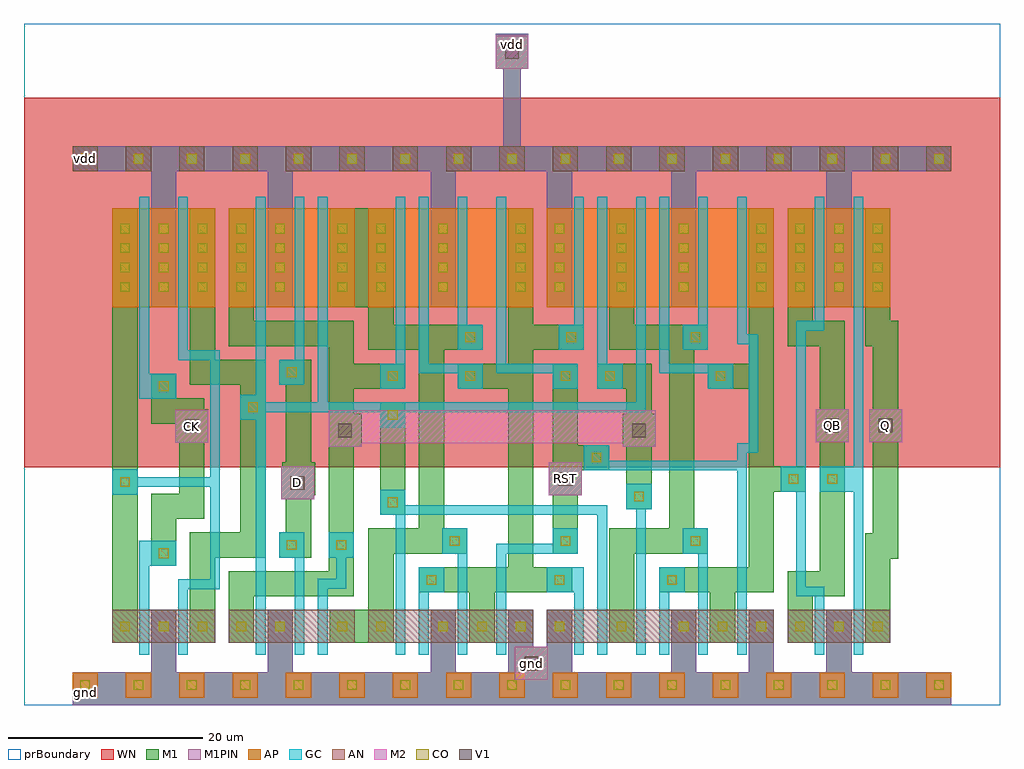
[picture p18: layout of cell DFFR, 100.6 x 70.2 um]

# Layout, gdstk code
import gdstk
lib = gdstk.Library(unit=1e-6, precision=1e-09)
def R(c, l, rs):  # rectangles x0, y0, x1, y1
    for r in rs: c.add(gdstk.rectangle(r[:2], r[2:], *l))
def A(c, l, x, y, w, h, nx, ny, dx, dy):  # array of equal rectangles
    R(c, l, [(x+i*dx, y+j*dy, x+i*dx+w, y+j*dy+h) for i in range(nx) for j in range(ny)])
def P(c, l, *ps):  # polygons
    for p in ps: c.add(gdstk.Polygon(p, *l))
AP = (3, 1)
AN = (3, 2)
GC = (8, 1)
CO = (11, 0)
M1 = (13, 0)
V1 = (19, 0)
M2 = (20, 0)
M1PIN = (48, 1)
WN = (140, 0)
prBoundary = (235, 4)

dffr = lib.new_cell('DFFR')
A(dffr, AP, 5, 0.75, 2.6, 2.6, 17, 1, 5.5, 0)
R(dffr, AP, [(9.1,41,19.7,51.2), (21.1,41,34.1,51.2), (35.5,41,52.5,51.2), (53.9,41,77.3,51.2), (78.7,41,89.3,51.2)])
A(dffr, AN, 5, 55, 2.6, 2.6, 17, 1, 5.5, 0)
R(dffr, AN, [(9.1,6.4,19.7,9.8), (21.1,6.4,34.1,9.8), (35.5,6.4,52.5,9.8), (53.9,6.4,77.3,9.8), (78.7,6.4,89.3,9.8)])
P(dffr, GC, [(11.9,5.2),(11.9,16.95),(15.7,16.95),(15.7,14.35),(12.9,14.35),(12.9,5.2)],
  [(15.9,5.2),(15.9,12.95),(19.2,12.95),(19.2,22.5),(11.7,22.5),(11.7,21.7),(9.1,21.7),(9.1,24.3),(11.7,24.3),(11.7,23.5),(19.2,23.5),(19.2,35.55),(15.9,35.55),(15.9,52.4),(16.9,52.4),(16.9,36.55),(20.2,36.55),(20.2,11.95),(16.9,11.95),(16.9,5.2)],
  [(23.9,5.2),(23.9,29.4),(22.3,29.4),(22.3,32),(23.9,32),(23.9,52.4),(24.9,52.4),(24.9,31.2),(30.3,31.2),(30.3,52.4),(31.3,52.4),(31.3,31.2),(63.1,31.2),(63.1,52.4),(64.1,52.4),(64.1,30.2),(39.3,30.2),(39.3,28.6),(36.7,28.6),(36.7,30.2),(24.9,30.2),(24.9,5.2)],
  [(38.3,5.2),(38.3,19.6),(36.7,19.6),(36.7,22.2),(39.3,22.2),(39.3,20.6),(60.1,20.6),(60.1,5.2),(59.1,5.2),(59.1,19.6),(39.3,19.6),(39.3,5.2)],
  [(56.7,5.2),(56.7,11.6),(53.9,11.6),(53.9,14.2),(57.7,14.2),(57.7,5.2)],
  [(73.5,5.2),(73.5,24.2),(57.7,24.2),(57.7,26.8),(60.3,26.8),(60.3,25.2),(73.5,25.2),(73.5,27),(74.7,27),(74.7,37.2),(73.5,37.2),(73.5,52.4),(74.5,52.4),(74.5,38.2),(75.7,38.2),(75.7,26),(74.5,26),(74.5,5.2)],
  [(81.5,5.2),(81.5,11.2),(79.6,11.2),(79.6,22),(78,22),(78,24.6),(79.6,24.6),(79.6,39.6),(81.5,39.6),(81.5,52.4),(82.5,52.4),(82.5,38.6),(80.6,38.6),(80.6,12.2),(82.5,12.2),(82.5,5.2)],
  [(85.5,5.2),(85.5,22),(82,22),(82,24.6),(85.5,24.6),(85.5,52.4),(86.5,52.4),(86.5,5.2)],
  [(40.7,5.2),(40.7,14.2),(43.3,14.2),(43.3,11.6),(41.7,11.6),(41.7,5.2)],
  [(65.5,5.2),(65.5,14.2),(68.1,14.2),(68.1,11.6),(66.5,11.6),(66.5,5.2)],
  [(27.9,5.2),(27.9,15.2),(26.3,15.2),(26.3,17.8),(28.9,17.8),(28.9,5.2)],
  [(30.3,5.2),(30.3,13),(32.2,13),(32.2,15.2),(31.4,15.2),(31.4,17.8),(34,17.8),(34,15.2),(33.2,15.2),(33.2,12),(31.3,12),(31.3,5.2)],
  [(44.7,5.2),(44.7,15.6),(43.1,15.6),(43.1,18.2),(45.7,18.2),(45.7,5.2)],
  [(48.7,5.2),(48.7,16.6),(54.5,16.6),(54.5,18.2),(57.1,18.2),(57.1,15.6),(49.7,15.6),(49.7,5.2)],
  [(69.5,5.2),(69.5,15.6),(67.9,15.6),(67.9,18.2),(70.5,18.2),(70.5,5.2)],
  [(63.1,5.2),(63.1,20.2),(62.1,20.2),(62.1,22.8),(64.7,22.8),(64.7,20.2),(64.1,20.2),(64.1,5.2)],
  [(11.9,31.55),(11.9,52.4),(12.9,52.4),(12.9,34.15),(15.7,34.15),(15.7,31.55)],
  [(26.3,33),(26.3,35.6),(27.9,35.6),(27.9,52.4),(28.9,52.4),(28.9,33)],
  [(36.7,32.6),(36.7,35.2),(38.3,35.2),(38.3,52.4),(39.3,52.4),(39.3,32.6)],
  [(44.7,32.6),(44.7,34.2),(40.7,34.2),(40.7,52.4),(41.7,52.4),(41.7,35.2),(47.3,35.2),(47.3,32.6)],
  [(44.7,36.6),(44.7,52.4),(45.7,52.4),(45.7,39.2),(47.3,39.2),(47.3,36.6)],
  [(54.5,32.6),(54.5,34.2),(48.7,34.2),(48.7,52.4),(49.7,52.4),(49.7,35.2),(57.1,35.2),(57.1,32.6)],
  [(55.1,36.6),(55.1,39.2),(56.7,39.2),(56.7,52.4),(57.7,52.4),(57.7,36.6)],
  [(59.1,32.6),(59.1,52.4),(60.1,52.4),(60.1,35.2),(61.7,35.2),(61.7,32.6)],
  [(70.5,32.6),(70.5,34.2),(65.5,34.2),(65.5,52.4),(66.5,52.4),(66.5,35.2),(73.1,35.2),(73.1,32.6)],
  [(67.9,36.6),(67.9,39.2),(69.5,39.2),(69.5,52.4),(70.5,52.4),(70.5,36.6)])
A(dffr, CO, 5.8, 1.55, 1, 1, 17, 2, 5.5, 54.25)
A(dffr, CO, 13.9, 7.6, 1, 1, 4, 2, 4, 35)
A(dffr, CO, 46.7, 7.6, 1, 1, 3, 1, 4, 0)
A(dffr, CO, 71.5, 7.6, 1, 1, 4, 1, 4, 0)
A(dffr, CO, 9.9, 42.6, 1, 1, 1, 4, 0, 2)
A(dffr, CO, 13.9, 42.6, 1, 1, 1, 4, 0, 2)
A(dffr, CO, 25.9, 42.6, 1, 1, 1, 4, 0, 2)
A(dffr, CO, 32.3, 42.6, 1, 1, 1, 4, 0, 2)
A(dffr, CO, 36.3, 42.6, 1, 1, 1, 4, 0, 2)
A(dffr, CO, 50.7, 42.6, 1, 1, 1, 4, 0, 2)
A(dffr, CO, 54.7, 42.6, 1, 1, 1, 4, 0, 2)
A(dffr, CO, 75.5, 42.6, 1, 1, 3, 4, 4, 2)
A(dffr, CO, 83.5, 42.6, 1, 1, 1, 4, 0, 2)
A(dffr, CO, 87.5, 42.6, 1, 1, 1, 4, 0, 2)
A(dffr, CO, 13.9, 44.6, 1, 1, 4, 3, 4, 2)
R(dffr, CO, [(9.9,7.6,10.9,8.6), (13.9,7.6,14.9,8.6), (25.9,7.6,26.9,8.6), (32.3,7.6,33.3,8.6), (36.3,7.6,37.3,8.6), (42.7,7.6,43.7,8.6), (42.7,7.6,43.7,8.6), (46.7,7.6,47.7,8.6), (61.1,7.6,62.1,8.6), (61.1,7.6,62.1,8.6), (67.5,7.6,68.5,8.6), (67.5,7.6,68.5,8.6), (71.5,7.6,72.5,8.6), (83.5,7.6,84.5,8.6), (87.5,7.6,88.5,8.6), (41.5,12.4,42.5,13.4), (54.7,12.4,55.7,13.4), (66.3,12.4,67.3,13.4), (13.9,15.15,14.9,16.15), (27.1,16,28.1,17), (32.2,16,33.2,17), (43.9,16.4,44.9,17.4), (55.3,16.4,56.3,17.4), (68.7,16.4,69.7,17.4), (37.5,20.4,38.5,21.4), (62.9,21,63.9,22), (9.9,22.5,10.9,23.5), (78.8,22.8,79.8,23.8), (82.8,22.8,83.8,23.8), (58.5,25,59.5,26), (37.5,29.4,38.5,30.4), (23.1,30.2,24.1,31.2), (13.9,32.35,14.9,33.35), (37.5,33.4,38.5,34.4), (45.5,33.4,46.5,34.4), (55.3,33.4,56.3,34.4), (59.9,33.4,60.9,34.4), (71.3,33.4,72.3,34.4), (27.1,33.8,28.1,34.8), (45.5,37.4,46.5,38.4), (55.9,37.4,56.9,38.4), (68.7,37.4,69.7,38.4), (42.7,42.6,43.7,43.6), (42.7,42.6,43.7,43.6), (61.1,42.6,62.1,43.6), (61.1,42.6,62.1,43.6), (67.5,42.6,68.5,43.6), (67.5,42.6,68.5,43.6), (42.7,44.6,43.7,45.6), (42.7,44.6,43.7,45.6), (61.1,44.6,62.1,45.6), (61.1,44.6,62.1,45.6), (67.5,44.6,68.5,45.6), (67.5,44.6,68.5,45.6), (42.7,46.6,43.7,47.6), (42.7,46.6,43.7,47.6), (61.1,46.6,62.1,47.6), (61.1,46.6,62.1,47.6), (67.5,46.6,68.5,47.6), (67.5,46.6,68.5,47.6), (42.7,48.6,43.7,49.6), (42.7,48.6,43.7,49.6), (61.1,48.6,62.1,49.6), (61.1,48.6,62.1,49.6), (67.5,48.6,68.5,49.6), (67.5,48.6,68.5,49.6)])
R(dffr, M1, [(5,2.6,13.1,3.4), (15.7,2.6,25.1,3.4), (27.7,2.6,41.9,3.4), (44.5,2.6,49.9,3.4), (56.5,2.6,66.7,3.4), (69.3,2.6,74.7,3.4), (77.3,2.6,82.7,3.4), (85.3,2.6,95.6,3.4), (9.1,6.4,11.7,51.2), (36.7,19.6,39.3,31.2), (13.1,41,15.7,55), (25.1,41,27.7,55), (41.9,41,44.5,55), (53.9,41,56.5,55), (66.7,41,69.3,55), (82.7,41,85.3,55), (5,55,95.6,57.6), (49.4,57.6,51.2,65.6), (48.6,65.6,52,69.2)])
P(dffr, M1, [(5,0),(5,2.6),(13.1,2.6),(13.1,9.8),(15.7,9.8),(15.7,2.6),(25.1,2.6),(25.1,9.8),(27.7,9.8),(27.7,2.6),(41.9,2.6),(41.9,9.8),(44.5,9.8),(44.5,2.6),(49.9,2.6),(49.9,9.8),(52.5,9.8),(52.5,6),(53.9,6),(53.9,9.8),(56.5,9.8),(56.5,2.6),(66.7,2.6),(66.7,9.8),(69.3,9.8),(69.3,2.6),(74.7,2.6),(74.7,9.8),(77.3,9.8),(77.3,2.6),(82.7,2.6),(82.7,9.8),(85.3,9.8),(85.3,2.6),(95.6,2.6),(95.6,0)],
  [(13.1,14.35),(13.1,21.8),(16,21.8),(16,27.05),(15.6,27.05),(15.6,29),(13.1,29),(13.1,34.15),(15.7,34.15),(15.7,31.6),(18.6,31.6),(18.6,30.5),(19,30.5),(19,27.05),(18.6,27.05),(18.6,19.2),(15.7,19.2),(15.7,14.35)],
  [(54.5,15.6),(54.5,21.6),(54.1,21.6),(54.1,25),(54.5,25),(54.5,35.2),(57.1,35.2),(57.1,26.8),(60.3,26.8),(60.3,24.2),(57.5,24.2),(57.5,21.6),(57.1,21.6),(57.1,15.6)],
  [(62.1,20.2),(62.1,26.6),(61.7,26.6),(61.7,30),(62.1,30),(62.1,32.6),(59.1,32.6),(59.1,35.2),(64.7,35.2),(64.7,30),(65.1,30),(65.1,26.6),(64.7,26.6),(64.7,20.2)],
  [(26.3,15.2),(26.3,17.8),(27,17.8),(27,21.2),(26.5,21.2),(26.5,24.6),(26.6,24.6),(26.6,25),(27,25),(27,33),(26.3,33),(26.3,35.6),(29.6,35.6),(29.6,25),(30,25),(30,21.6),(29.9,21.6),(29.9,21.2),(29.6,21.2),(29.6,15.2)],
  [(17.1,6.4),(17.1,17.8),(22.3,17.8),(22.3,33),(17.1,33),(17.1,51.2),(19.7,51.2),(19.7,35.6),(24.9,35.6),(24.9,15.2),(19.7,15.2),(19.7,6.4)],
  [(21.1,6.4),(21.1,13.8),(31.4,13.8),(31.4,37),(21.1,37),(21.1,51.2),(23.7,51.2),(23.7,39.6),(34,39.6),(34,35.2),(39.3,35.2),(39.3,32.6),(34,32.6),(34,30),(34.8,30),(34.8,26.6),(34,26.6),(34,11.2),(23.7,11.2),(23.7,6.4)],
  [(31.5,6.4),(31.5,9.8),(35.5,9.8),(35.5,18.2),(40.7,18.2),(40.7,36.6),(35.5,36.6),(35.5,41),(31.5,41),(31.5,51.2),(38.1,51.2),(38.1,39.2),(47.3,39.2),(47.3,36.6),(43.3,36.6),(43.3,18.2),(45.7,18.2),(45.7,15.6),(38.1,15.6),(38.1,6.4)],
  [(45.9,6.4),(45.9,11.6),(40.7,11.6),(40.7,14.2),(49.9,14.2),(49.9,32.6),(44.7,32.6),(44.7,35.2),(49.9,35.2),(49.9,51.2),(52.5,51.2),(52.5,39.2),(57.7,39.2),(57.7,36.6),(52.5,36.6),(52.5,14.2),(56.5,14.2),(56.5,11.6),(48.5,11.6),(48.5,6.4)],
  [(60.3,6.4),(60.3,18.2),(66.5,18.2),(66.5,36.6),(60.3,36.6),(60.3,51.2),(62.9,51.2),(62.9,39.2),(70.5,39.2),(70.5,36.6),(69.1,36.6),(69.1,18.2),(70.5,18.2),(70.5,15.6),(62.9,15.6),(62.9,6.4)],
  [(70.7,6.4),(70.7,11.6),(65.5,11.6),(65.5,14.2),(74.7,14.2),(74.7,32.6),(70.5,32.6),(70.5,35.2),(74.7,35.2),(74.7,51.2),(77.3,51.2),(77.3,24.6),(80.6,24.6),(80.6,22),(77.3,22),(77.3,11.6),(73.3,11.6),(73.3,6.4)],
  [(78.7,6.4),(78.7,13.8),(82,13.8),(82,27.1),(81.6,27.1),(81.6,30.5),(82,30.5),(82,37),(78.7,37),(78.7,51.2),(81.3,51.2),(81.3,39.6),(84.6,39.6),(84.6,30.5),(85,30.5),(85,27.1),(84.6,27.1),(84.6,11.2),(81.3,11.2),(81.3,6.4)],
  [(86.7,6.4),(86.7,17.7),(87.5,17.7),(87.5,27.1),(87.1,27.1),(87.1,30.5),(87.5,30.5),(87.5,37),(86.7,37),(86.7,51.2),(89.3,51.2),(89.3,39.6),(90.1,39.6),(90.1,30.5),(90.5,30.5),(90.5,27.1),(90.1,27.1),(90.1,15.1),(89.3,15.1),(89.3,6.4)])
R(dffr, V1, [(51.6,3.6,53,5), (27.5,22.2,28.9,23.6), (55.1,22.6,56.5,24), (32.4,27.6,33.8,29), (62.7,27.6,64.1,29), (16.6,28.05,18,29.45), (82.6,28.1,84,29.5), (88.1,28.1,89.5,29.5), (49.6,66.6,51,68)])
R(dffr, M2, [(50.6,2.6,54,6), (26.5,21.2,29.9,24.6), (54.1,21.6,57.5,25), (15.6,27.05,19,30.45), (81.6,27.1,85,30.5), (87.1,27.1,90.5,30.5), (48.6,65.6,52,69)])
P(dffr, M2, [(31.4,26.6),(31.4,30.4),(65.1,30.4),(65.1,26.6),(61.7,26.6),(61.7,27),(34.8,27),(34.8,26.6)])
A(dffr, M1PIN, 66.7, 3.4, 2.6, 6.4, 3, 1, 8, 0)
R(dffr, M1PIN, [(5,0,95.6,3.4), (13.1,3.4,15.7,9.8), (25.1,3.4,27.7,9.8), (41.9,3.4,44.5,9.8), (49.9,3.4,56.5,6), (49.9,6,52.5,9.8), (53.9,6,56.5,9.8), (13.1,41,15.7,55), (25.1,41,27.7,55), (41.9,41,44.5,55), (53.9,41,56.5,55), (66.7,41,69.3,55), (82.7,41,85.3,55), (5,55,95.6,57.6), (49.4,57.6,51.2,65.6), (48.6,65.6,52,69.2)])
R(dffr, WN, [(0,24.5,100.6,62.6)])
R(dffr, prBoundary, [(0,0,100.6,70.2)])
dffr.add(gdstk.Label('vdd', (50.3,68.1), layer=49, texttype=0))
dffr.add(gdstk.Label('CK', (17.3,28.75), layer=49, texttype=0))
dffr.add(gdstk.Label('D', (28.2,22.9), layer=49, texttype=0))
dffr.add(gdstk.Label('Q', (88.8,28.8), layer=49, texttype=0))
dffr.add(gdstk.Label('QB', (83.3,28.8), layer=49, texttype=0))
dffr.add(gdstk.Label('RST', (55.8,23.3), layer=49, texttype=0))
dffr.add(gdstk.Label('gnd', (52.3,4.3), layer=49, texttype=0))
dffr.add(gdstk.Label('D', (28.3,23.3), layer=48, texttype=0))
dffr.add(gdstk.Label('RST', (55.8,23.3), layer=48, texttype=0))
dffr.add(gdstk.Label('QB', (83.3,28.8), layer=48, texttype=0))
dffr.add(gdstk.Label('Q', (88.8,28.8), layer=48, texttype=0))
dffr.add(gdstk.Label('vdd', (6.3,56.3), layer=48, texttype=0))
dffr.add(gdstk.Label('CK', (17.3,28.8), layer=48, texttype=0))
dffr.add(gdstk.Label('gnd', (6.3,1.3), layer=48, texttype=0))

lib.write_gds('DFFR.gds')
